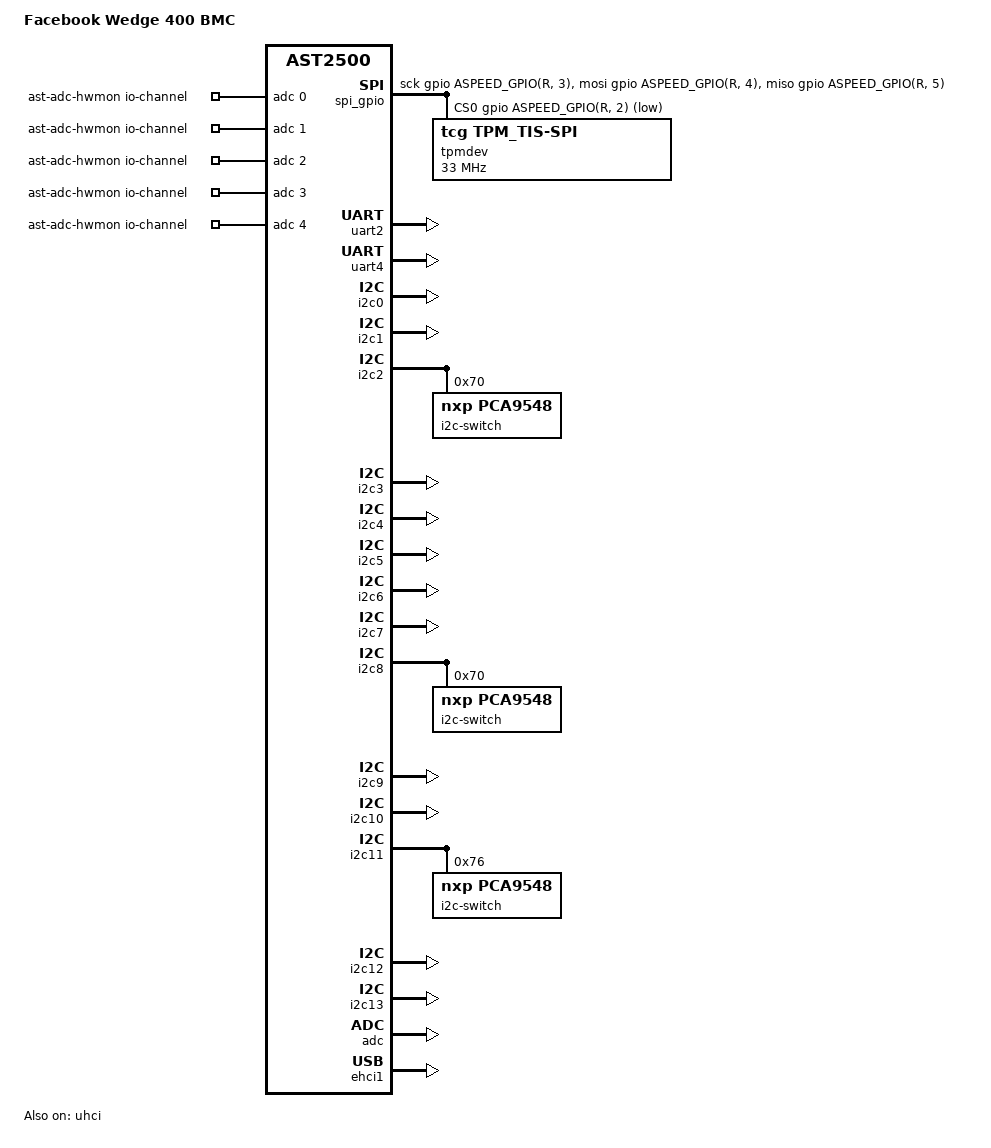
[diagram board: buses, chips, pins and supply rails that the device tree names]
// SPDX-License-Identifier: GPL-2.0+
// Copyright (c) 2019 Facebook Inc.
/dts-v1/;

#include <dt-bindings/gpio/aspeed-gpio.h>
#include "ast2500-facebook-netbmc-common.dtsi"

/ {
	model = "Facebook Wedge 400 BMC";
	compatible = "facebook,wedge400-bmc", "aspeed,ast2500";

	aliases {
		/*
		 * PCA9548 (2-0070) provides 8 channels connecting to
		 * SCM (System Controller Module).
		 */
		i2c16 = &imux16;
		i2c17 = &imux17;
		i2c18 = &imux18;
		i2c19 = &imux19;
		i2c20 = &imux20;
		i2c21 = &imux21;
		i2c22 = &imux22;
		i2c23 = &imux23;

		/*
		 * PCA9548 (8-0070) provides 8 channels connecting to
		 * SMB (Switch Main Board).
		 */
		i2c24 = &imux24;
		i2c25 = &imux25;
		i2c26 = &imux26;
		i2c27 = &imux27;
		i2c28 = &imux28;
		i2c29 = &imux29;
		i2c30 = &imux30;
		i2c31 = &imux31;

		/*
		 * PCA9548 (11-0076) provides 8 channels connecting to
		 * FCM (Fan Controller Module).
		 */
		i2c32 = &imux32;
		i2c33 = &imux33;
		i2c34 = &imux34;
		i2c35 = &imux35;
		i2c36 = &imux36;
		i2c37 = &imux37;
		i2c38 = &imux38;
		i2c39 = &imux39;

		spi2 = &spi_gpio;
	};

	chosen {
		stdout-path = &uart1;
		bootargs = "console=ttyS0,9600n8 root=/dev/ram rw";
	};

	ast-adc-hwmon {
		compatible = "iio-hwmon";
		io-channels = <&adc 0>, <&adc 1>, <&adc 2>, <&adc 3>, <&adc 4>;
	};

	/*
	 * GPIO-based SPI Master is required to access SPI TPM, because
	 * full-duplex SPI transactions are not supported by ASPEED SPI
	 * Controllers.
	 */
	spi_gpio: spi-gpio {
		status = "okay";
		compatible = "spi-gpio";
		#address-cells = <1>;
		#size-cells = <0>;

		cs-gpios = <&gpio ASPEED_GPIO(R, 2) GPIO_ACTIVE_LOW>;
		gpio-sck = <&gpio ASPEED_GPIO(R, 3) GPIO_ACTIVE_HIGH>;
		gpio-mosi = <&gpio ASPEED_GPIO(R, 4) GPIO_ACTIVE_HIGH>;
		gpio-miso = <&gpio ASPEED_GPIO(R, 5) GPIO_ACTIVE_HIGH>;
		num-chipselects = <1>;

		tpmdev@0 {
			compatible = "tcg,tpm_tis-spi";
			spi-max-frequency = <33000000>;
			reg = <0>;
		};
	};
};

/*
 * Both firmware flashes are 128MB on Wedge400 BMC.
 */
&fmc_flash0 {
	partitions {
		compatible = "fixed-partitions";
		#address-cells = <1>;
		#size-cells = <1>;

		/*
		 * u-boot partition: 384KB.
		 */
		u-boot@0 {
			reg = <0x0 0x60000>;
			label = "u-boot";
		};

		/*
		 * u-boot environment variables: 128KB.
		 */
		u-boot-env@60000 {
			reg = <0x60000 0x20000>;
			label = "env";
		};

		/*
		 * FIT image: 123.5 MB.
		 */
		fit@80000 {
			reg = <0x80000 0x7b80000>;
			label = "fit";
		};

		/*
		 * "data0" partition (4MB) is reserved for persistent
		 * data store.
		 */
		data0@3800000 {
			reg = <0x7c00000 0x800000>;
			label = "data0";
		};

		/*
		 * "flash0" partition (covering the entire flash) is
		 * explicitly created to avoid breaking legacy applications.
		 */
		flash0@0 {
			reg = <0x0 0x8000000>;
			label = "flash0";
		};
	};
};

&fmc_flash1 {
	partitions {
		compatible = "fixed-partitions";
		#address-cells = <1>;
		#size-cells = <1>;

		flash1@0 {
			reg = <0x0 0x8000000>;
			label = "flash1";
		};
	};
};

&uart2 {
	status = "okay";
	pinctrl-names = "default";
	pinctrl-0 = <&pinctrl_txd2_default
		     &pinctrl_rxd2_default>;
};

&uart4 {
	status = "okay";
	pinctrl-names = "default";
	pinctrl-0 = <&pinctrl_txd4_default
		     &pinctrl_rxd4_default>;
};

/*
 * I2C bus #0 is multi-master environment dedicated for BMC and Bridge IC
 * communication.
 */
&i2c0 {
	status = "okay";
	multi-master;
	bus-frequency = <1000000>;
};

&i2c1 {
	status = "okay";
};

&i2c2 {
	status = "okay";

	i2c-switch@70 {
		compatible = "nxp,pca9548";
		#address-cells = <1>;
		#size-cells = <0>;
		reg = <0x70>;
		i2c-mux-idle-disconnect;

		imux16: i2c@0 {
			#address-cells = <1>;
			#size-cells = <0>;
			reg = <0>;
		};

		imux17: i2c@1 {
			#address-cells = <1>;
			#size-cells = <0>;
			reg = <1>;
		};

		imux18: i2c@2 {
			#address-cells = <1>;
			#size-cells = <0>;
			reg = <2>;
		};

		imux19: i2c@3 {
			#address-cells = <1>;
			#size-cells = <0>;
			reg = <3>;
		};

		imux20: i2c@4 {
			#address-cells = <1>;
			#size-cells = <0>;
			reg = <4>;
		};

		imux21: i2c@5 {
			#address-cells = <1>;
			#size-cells = <0>;
			reg = <5>;
		};

		imux22: i2c@6 {
			#address-cells = <1>;
			#size-cells = <0>;
			reg = <6>;
		};

		imux23: i2c@7 {
			#address-cells = <1>;
			#size-cells = <0>;
			reg = <7>;
		};
	};
};

&i2c3 {
	status = "okay";
};

&i2c4 {
	status = "okay";
};

&i2c5 {
	status = "okay";
};

&i2c6 {
	status = "okay";
};

&i2c7 {
	status = "okay";
};

&i2c8 {
	status = "okay";

	i2c-switch@70 {
		compatible = "nxp,pca9548";
		#address-cells = <1>;
		#size-cells = <0>;
		reg = <0x70>;
		i2c-mux-idle-disconnect;

		imux24: i2c@0 {
			#address-cells = <1>;
			#size-cells = <0>;
			reg = <0>;
		};

		imux25: i2c@1 {
			#address-cells = <1>;
			#size-cells = <0>;
			reg = <1>;
		};

		imux26: i2c@2 {
			#address-cells = <1>;
			#size-cells = <0>;
			reg = <2>;
		};

		imux27: i2c@3 {
			#address-cells = <1>;
			#size-cells = <0>;
			reg = <3>;
		};

		imux28: i2c@4 {
			#address-cells = <1>;
			#size-cells = <0>;
			reg = <4>;
		};

		imux29: i2c@5 {
			#address-cells = <1>;
			#size-cells = <0>;
			reg = <5>;
		};

		imux30: i2c@6 {
			#address-cells = <1>;
			#size-cells = <0>;
			reg = <6>;
		};

		imux31: i2c@7 {
			#address-cells = <1>;
			#size-cells = <0>;
			reg = <7>;
		};

	};
};

&i2c9 {
	status = "okay";
};

&i2c10 {
	status = "okay";
};

&i2c11 {
	status = "okay";

	i2c-switch@76 {
		compatible = "nxp,pca9548";
		#address-cells = <1>;
		#size-cells = <0>;
		reg = <0x76>;
		i2c-mux-idle-disconnect;

		imux32: i2c@0 {
			#address-cells = <1>;
			#size-cells = <0>;
			reg = <0>;
		};

		imux33: i2c@1 {
			#address-cells = <1>;
			#size-cells = <0>;
			reg = <1>;
		};

		imux34: i2c@2 {
			#address-cells = <1>;
			#size-cells = <0>;
			reg = <2>;
		};

		imux35: i2c@3 {
			#address-cells = <1>;
			#size-cells = <0>;
			reg = <3>;
		};

		imux36: i2c@4 {
			#address-cells = <1>;
			#size-cells = <0>;
			reg = <4>;
		};

		imux37: i2c@5 {
			#address-cells = <1>;
			#size-cells = <0>;
			reg = <5>;
		};

		imux38: i2c@6 {
			#address-cells = <1>;
			#size-cells = <0>;
			reg = <6>;
		};

		imux39: i2c@7 {
			#address-cells = <1>;
			#size-cells = <0>;
			reg = <7>;
		};

	};
};

&i2c12 {
	status = "okay";
};

&i2c13 {
	status = "okay";
};

&adc {
	status = "okay";
};

&ehci1 {
	status = "okay";
};

&uhci {
	status = "okay";
};

&sdhci1 {
	/*
	 * DMA mode needs to be disabled to avoid conflicts with UHCI
	 * Controller in AST2500 SoC.
	 */
	sdhci-caps-mask = <0x0 0x580000>;
};
